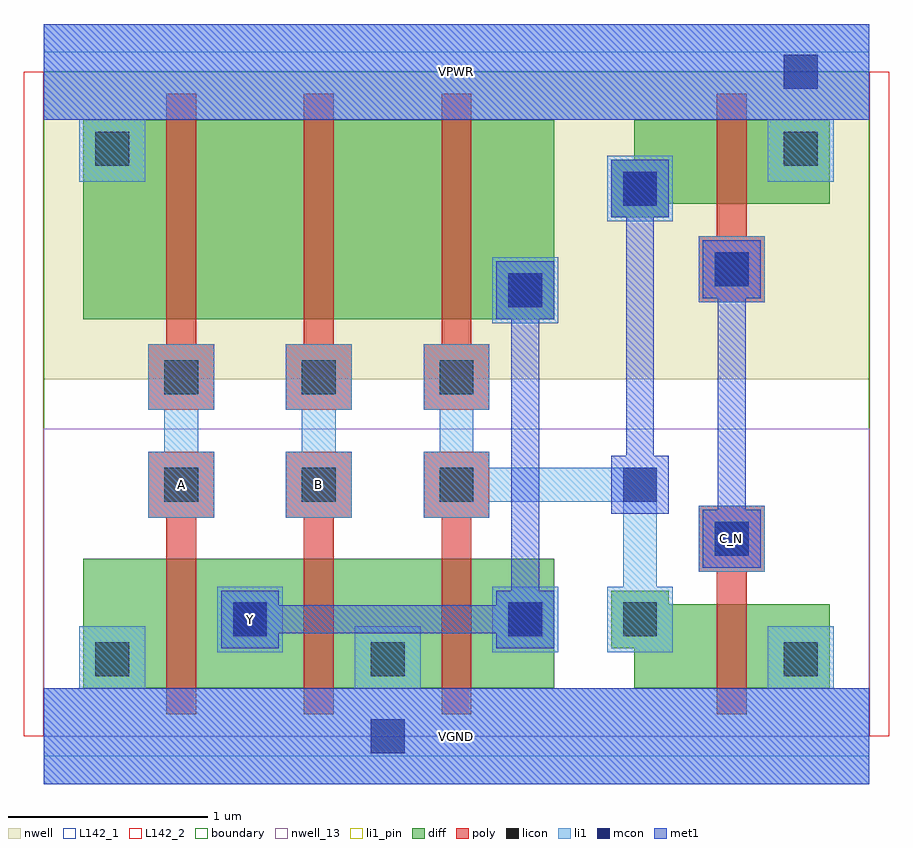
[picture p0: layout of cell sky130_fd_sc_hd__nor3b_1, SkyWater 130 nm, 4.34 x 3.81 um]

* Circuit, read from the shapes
.subckt sky130_fd_sc_hd__nor3b_1 A B C_N VGND VPWR Y
XM1 Y A VGND VSUBS sky130_fd_pr__nfet_01v8 w=0.65 l=0.15
XM2 VGND B Y VSUBS sky130_fd_pr__nfet_01v8 w=0.65 l=0.15
XM3 Y n1 VGND VSUBS sky130_fd_pr__nfet_01v8 w=0.65 l=0.15
XM4 VGND C_N n1 VSUBS sky130_fd_pr__nfet_01v8 w=0.42 l=0.15
XM5 n2 A VPWR n3 sky130_fd_pr__pfet_01v8 w=1 l=0.15
XM6 n4 B n2 n3 sky130_fd_pr__pfet_01v8 w=1 l=0.15
XM7 Y n1 n4 n3 sky130_fd_pr__pfet_01v8 w=1 l=0.15
XM8 VPWR C_N n1 n3 sky130_fd_pr__pfet_01v8 w=0.42 l=0.15
.ends

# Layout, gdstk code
import gdstk
lib = gdstk.Library(unit=1e-6, precision=1e-09)
def R(c, l, rs):  # rectangles x0, y0, x1, y1
    for r in rs: c.add(gdstk.rectangle(r[:2], r[2:], *l))
def A(c, l, x, y, w, h, nx, ny, dx, dy):  # array of equal rectangles
    R(c, l, [(x+i*dx, y+j*dy, x+i*dx+w, y+j*dy+h) for i in range(nx) for j in range(ny)])
def P(c, l, *ps):  # polygons
    for p in ps: c.add(gdstk.Polygon(p, *l))
nwell_13 = (64, 13)
nwell = (64, 20)
diff = (65, 20)
poly = (66, 20)
licon = (66, 44)
li1_pin = (67, 16)
li1 = (67, 20)
mcon = (67, 44)
met1 = (68, 20)
L142_1 = (142, 1)
L142_2 = (142, 2)
boundary = (235, 4)

sky130_fd_sc_hd__nor3b_1 = lib.new_cell('sky130_fd_sc_hd__nor3b_1')
R(sky130_fd_sc_hd__nor3b_1, nwell_13, [(0,0,4.14,1.54)])
R(sky130_fd_sc_hd__nor3b_1, nwell, [(0,1.79,4.14,3.33)])
R(sky130_fd_sc_hd__nor3b_1, diff, [(0.2,0.24,2.56,0.89), (0.2,0.24,0.615,0.89), (0.615,0.24,1.305,0.89), (1.305,0.24,1.995,0.89), (1.995,0.24,2.56,0.89), (2.96,0.24,3.94,0.66), (3.375,0.24,3.94,0.66), (0.2,2.09,2.56,3.09), (0.2,2.09,0.615,3.09), (0.615,2.09,1.305,3.09), (1.305,2.09,1.995,3.09), (1.995,2.09,2.56,3.09), (2.96,2.67,3.94,3.09), (3.375,2.67,3.94,3.09)])
P(sky130_fd_sc_hd__nor3b_1, diff, [(2.96,0.24),(2.96,0.44),(2.845,0.44),(2.845,0.73),(3.135,0.73),(3.135,0.66),(3.375,0.66),(3.375,0.24)],
  [(2.845,2.6),(2.845,2.89),(2.96,2.89),(2.96,3.09),(3.375,3.09),(3.375,2.67),(3.135,2.67),(3.135,2.6)])
P(sky130_fd_sc_hd__nor3b_1, poly, [(1.305,0.11),(1.305,1.095),(1.215,1.095),(1.215,1.425),(1.545,1.425),(1.545,1.095),(1.455,1.095),(1.455,0.11)],
  [(1.215,1.635),(1.215,1.965),(1.305,1.965),(1.305,3.22),(1.455,3.22),(1.455,1.965),(1.545,1.965),(1.545,1.635)],
  [(1.995,0.11),(1.995,1.095),(1.905,1.095),(1.905,1.425),(2.235,1.425),(2.235,1.095),(2.145,1.095),(2.145,0.11)],
  [(1.905,1.635),(1.905,1.965),(1.995,1.965),(1.995,3.22),(2.145,3.22),(2.145,1.965),(2.235,1.965),(2.235,1.635)],
  [(0.615,0.11),(0.615,1.095),(0.525,1.095),(0.525,1.425),(0.855,1.425),(0.855,1.095),(0.765,1.095),(0.765,0.11)],
  [(0.525,1.635),(0.525,1.965),(0.615,1.965),(0.615,3.22),(0.765,3.22),(0.765,1.965),(0.855,1.965),(0.855,1.635)],
  [(3.375,0.11),(3.375,0.825),(3.285,0.825),(3.285,1.155),(3.615,1.155),(3.615,0.825),(3.525,0.825),(3.525,0.11)],
  [(3.285,2.175),(3.285,2.505),(3.375,2.505),(3.375,3.22),(3.525,3.22),(3.525,2.505),(3.615,2.505),(3.615,2.175)])
A(sky130_fd_sc_hd__nor3b_1, licon, 0.605, 1.175, 0.17, 0.17, 3, 2, 0.69, 0.54)
R(sky130_fd_sc_hd__nor3b_1, licon, [(0.26,0.3,0.43,0.47), (1.64,0.3,1.81,0.47), (3.71,0.3,3.88,0.47), (0.95,0.5,1.12,0.67), (2.33,0.5,2.5,0.67), (2.905,0.5,3.075,0.67), (3.365,0.905,3.535,1.075), (2.33,2.15,2.5,2.32), (3.365,2.255,3.535,2.425), (2.905,2.66,3.075,2.83), (0.26,2.86,0.43,3.03), (3.71,2.86,3.88,3.03)])
R(sky130_fd_sc_hd__nor3b_1, li1_pin, [(0,-0.24,4.14,0.24), (0.87,0.42,1.2,0.75), (3.285,0.825,3.615,1.155), (0,3.09,4.14,3.57)])
P(sky130_fd_sc_hd__nor3b_1, li1_pin, [(1.215,1.095),(1.215,1.425),(1.295,1.425),(1.295,1.635),(1.215,1.635),(1.215,1.965),(1.545,1.965),(1.545,1.635),(1.465,1.635),(1.465,1.425),(1.545,1.425),(1.545,1.095)],
  [(0.525,1.095),(0.525,1.425),(0.605,1.425),(0.605,1.635),(0.525,1.635),(0.525,1.965),(0.855,1.965),(0.855,1.635),(0.775,1.635),(0.775,1.425),(0.855,1.425),(0.855,1.095)])
R(sky130_fd_sc_hd__nor3b_1, li1, [(0.87,0.42,1.2,0.75), (2.25,0.42,2.58,0.75), (3.285,0.825,3.615,1.155), (2.25,2.07,2.58,2.4), (3.285,2.175,3.615,2.505), (2.825,2.58,3.155,2.91)])
P(sky130_fd_sc_hd__nor3b_1, li1, [(1.215,1.095),(1.215,1.425),(1.295,1.425),(1.295,1.635),(1.215,1.635),(1.215,1.965),(1.545,1.965),(1.545,1.635),(1.465,1.635),(1.465,1.425),(1.545,1.425),(1.545,1.095)],
  [(0.18,2.78),(0.18,3.09),(0,3.09),(0,3.57),(4.14,3.57),(4.14,3.09),(3.96,3.09),(3.96,2.78),(3.63,2.78),(3.63,3.09),(0.51,3.09),(0.51,2.78)],
  [(2.825,0.42),(2.825,0.75),(2.905,0.75),(2.905,1.175),(2.235,1.175),(2.235,1.095),(1.905,1.095),(1.905,1.425),(1.985,1.425),(1.985,1.635),(1.905,1.635),(1.905,1.965),(2.235,1.965),(2.235,1.635),(2.155,1.635),(2.155,1.425),(2.235,1.425),(2.235,1.345),(3.075,1.345),(3.075,0.75),(3.155,0.75),(3.155,0.42)],
  [(0,-0.24),(0,0.24),(0.18,0.24),(0.18,0.55),(0.51,0.55),(0.51,0.24),(1.56,0.24),(1.56,0.55),(1.89,0.55),(1.89,0.24),(3.63,0.24),(3.63,0.55),(3.96,0.55),(3.96,0.24),(4.14,0.24),(4.14,-0.24)],
  [(0.525,1.095),(0.525,1.425),(0.605,1.425),(0.605,1.635),(0.525,1.635),(0.525,1.965),(0.855,1.965),(0.855,1.635),(0.775,1.635),(0.775,1.425),(0.855,1.425),(0.855,1.095)])
R(sky130_fd_sc_hd__nor3b_1, mcon, [(1.64,-0.085,1.81,0.085), (0.95,0.5,1.12,0.67), (2.33,0.5,2.5,0.67), (3.365,0.905,3.535,1.075), (2.905,1.175,3.075,1.345), (2.33,2.15,2.5,2.32), (3.365,2.255,3.535,2.425), (2.905,2.66,3.075,2.83), (3.71,3.245,3.88,3.415)])
R(sky130_fd_sc_hd__nor3b_1, met1, [(0,-0.24,4.14,0.24), (0,3.09,4.14,3.57)])
P(sky130_fd_sc_hd__nor3b_1, met1, [(0.89,0.44),(0.89,0.73),(1.18,0.73),(1.18,0.655),(2.27,0.655),(2.27,0.73),(2.345,0.73),(2.345,2.09),(2.27,2.09),(2.27,2.38),(2.56,2.38),(2.56,2.09),(2.485,2.09),(2.485,0.73),(2.56,0.73),(2.56,0.44),(2.27,0.44),(2.27,0.515),(1.18,0.515),(1.18,0.44)],
  [(2.845,1.115),(2.845,1.405),(2.92,1.405),(2.92,2.6),(2.845,2.6),(2.845,2.89),(3.135,2.89),(3.135,2.6),(3.06,2.6),(3.06,1.405),(3.135,1.405),(3.135,1.115)],
  [(3.305,0.845),(3.305,1.135),(3.38,1.135),(3.38,2.195),(3.305,2.195),(3.305,2.485),(3.595,2.485),(3.595,2.195),(3.52,2.195),(3.52,1.135),(3.595,1.135),(3.595,0.845)])
R(sky130_fd_sc_hd__nor3b_1, L142_1, [(0,-0.1,4.14,0), (0,3.33,4.14,3.43)])
R(sky130_fd_sc_hd__nor3b_1, L142_2, [(-0.1,0,0,3.33), (4.14,0,4.24,3.33)])
R(sky130_fd_sc_hd__nor3b_1, boundary, [(0,0,4.14,3.33)])
sky130_fd_sc_hd__nor3b_1.add(gdstk.Label('Y', (1.035,0.585), layer=67, texttype=5))
sky130_fd_sc_hd__nor3b_1.add(gdstk.Label('B', (1.38,1.26), layer=67, texttype=5))
sky130_fd_sc_hd__nor3b_1.add(gdstk.Label('A', (0.69,1.26), layer=67, texttype=5))
sky130_fd_sc_hd__nor3b_1.add(gdstk.Label('C_N', (3.45,0.99), layer=67, texttype=5))
sky130_fd_sc_hd__nor3b_1.add(gdstk.Label('VGND', (2.07,0), layer=67, texttype=5))
sky130_fd_sc_hd__nor3b_1.add(gdstk.Label('VPWR', (2.07,3.33), layer=67, texttype=5))
sky130_fd_sc_hd__nor3b_1.add(gdstk.Label('VGND', (2.07,0), layer=68, texttype=5))
sky130_fd_sc_hd__nor3b_1.add(gdstk.Label('VPWR', (2.07,3.33), layer=68, texttype=5))

lib.write_gds('sky130_fd_sc_hd__nor3b_1.gds')
